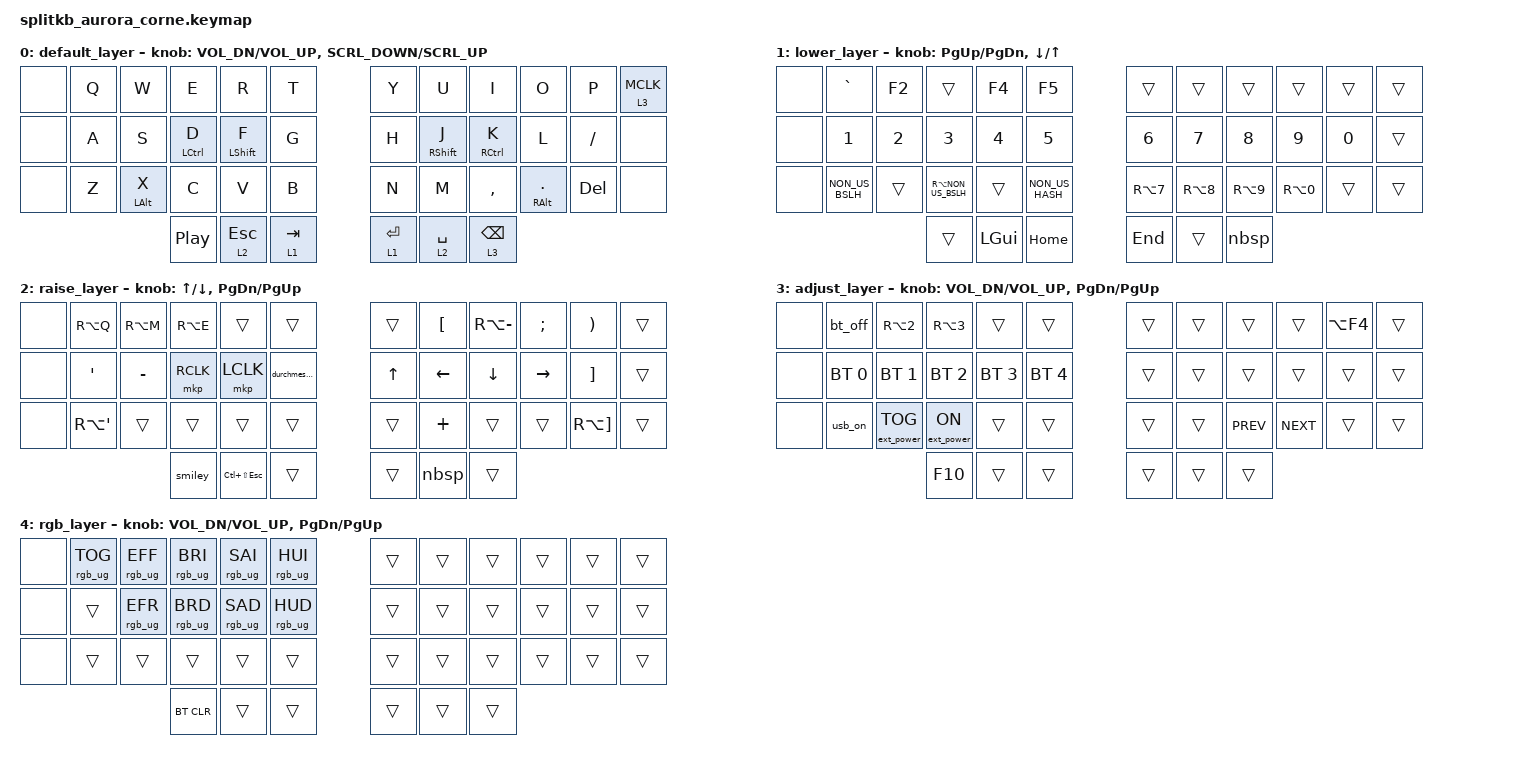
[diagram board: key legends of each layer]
#include <behaviors.dtsi>
#include <dt-bindings/zmk/keys.h>
#include <dt-bindings/zmk/bt.h>
#include <dt-bindings/zmk/ext_power.h>
#include <dt-bindings/zmk/pointing.h>
#include <dt-bindings/zmk/mouse.h>
#include <dt-bindings/zmk/outputs.h>
#include <dt-bindings/zmk/rgb.h>

&pinctrl {
    spi3_default: spi3_default {
        group1 {
            psels = <NRF_PSEL(SPIM_SCK, 0, 20)>, // Standard SCK Pin
                    <NRF_PSEL(SPIM_MOSI, 0, 17)>; // Standard MOSI Pin
        };
    };

    spi3_sleep: spi3_sleep {
        group1 {
            psels = <NRF_PSEL(SPIM_SCK, 0, 20)>,
                    <NRF_PSEL(SPIM_MOSI, 0, 17)>;
            low-power-enable;
        };
    };
};

/ {
    chosen {
        zmk,underglow = &led_strip;
    };

    // Tri-Layer Konfiguration: Wenn 1 und 2 aktiv, schalte 4 (RGB) an
    conditional_layers {
        compatible = "zmk,conditional-layers";
        tri_layer {
            if-layers = <1 2>;
            then-layer = <4>;
        };
    };

    macros {
        usb_on: usb_on { compatible = "zmk,behavior-macro"; #binding-cells = <0>; bindings = <&out OUT_USB>, <&rgb_ug RGB_ON>; };
        bt_off: bt_off { compatible = "zmk,behavior-macro"; #binding-cells = <0>; bindings = <&out OUT_BLE>, <&rgb_ug RGB_OFF>; };
        durchmesser: durchmesser { compatible = "zmk,behavior-macro"; #binding-cells = <0>; bindings = <&macro_press &kp LALT>, <&macro_tap &kp KP_N0 &kp KP_N2 &kp KP_N4 &kp KP_N8>, <&macro_release &kp LALT>; };
        smiley: smiley { compatible = "zmk,behavior-macro"; #binding-cells = <0>; wait-ms = <20>; tap-ms = <20>; bindings = <&macro_press &kp LSHFT>, <&macro_tap &kp COMMA>, <&macro_release &kp LSHFT>, <&macro_tap &kp SLASH>, <&macro_press &kp LSHFT>, <&macro_tap &kp N9>, <&macro_release &kp LSHFT>; };
        nbsp: nbsp { compatible = "zmk,behavior-macro"; #binding-cells = <0>; wait-ms = <30>; tap-ms = <30>; bindings = <&macro_press &kp LALT>, <&macro_tap &kp KP_N0 &kp KP_N1 &kp KP_N6 &kp KP_N0>, <&macro_release &kp LALT>; };
    };

    behaviors {
        hrm_safe: hrm_safe { 
           compatible = "zmk,behavior-hold-tap"; 
           #binding-cells = <2>; 
           tapping-term-ms = <280>; 
           quick-tap-ms = <175>; 
           flavor = "balanced"; 
           require-prior-idle-ms = <150>; 
           bindings = <&kp>, <&kp>; 
           hold-trigger-on-release; 
        };
        hrm_shift: hrm_shift { 
           compatible = "zmk,behavior-hold-tap"; 
           #binding-cells = <2>; 
           tapping-term-ms = <180>; 
           quick-tap-ms = <150>; 
           flavor = "balanced"; 
           bindings = <&kp>, <&kp>; hold-trigger-on-release; 
        };
        lt_hp: lt_hp { 
            compatible = "zmk,behavior-hold-tap"; 
            #binding-cells = <2>; 
            tapping-term-ms = <200>; 
            quick-tap-ms = <200>; 
            flavor = "balanced"; 
            retro-tap;
            bindings = <&mo>, <&kp>; 
        };
    };

    keymap {
        compatible = "zmk,keymap";

        default_layer {
            bindings = <
&none &kp Q  &kp W              &kp E              &kp R                &kp T                  &kp Y      &kp U                &kp I              &kp O                &kp P     &lt 3 MCLK
&none &kp A  &kp S              &hrm_safe LCTRL D  &hrm_shift LSHIFT F  &kp G                  &kp H      &hrm_shift RSHIFT J  &hrm_safe RCTRL K  &kp L                &kp SLASH &none 
&none &kp Z  &hrm_safe LALT X   &kp C              &kp V                &kp B                  &kp N      &kp M                &kp COMMA          &hrm_safe RALT DOT   &kp DEL   &none 
                                &kp C_PP           &lt 2 ESC            &lt 1 TAB              &lt 1 RET  &lt_hp 2 SPACE       &lt_hp 3 BSPC
            >;
            sensor-bindings = <&inc_dec_kp C_VOL_DN C_VOL_UP>, <&inc_dec_kp SCRL_DOWN SCRL_UP>;
        };

        lower_layer {
            bindings = <
&none &kp GRAVE        &kp F2     &trans               &kp F4        &kp F5                  &trans      &trans      &trans      &trans      &trans &trans 
&none &kp N1           &kp N2     &kp N3               &kp N4        &kp N5                  &kp N6      &kp N7      &kp N8      &kp N9      &kp N0 &trans 
&none &kp NON_US_BSLH  &trans     &kp RA(NON_US_BSLH)  &trans        &kp NON_US_HASH         &kp RA(N7)  &kp RA(N8)  &kp RA(N9)  &kp RA(N0)  &trans &trans 
                                  &trans               &kp LGUI      &kp HOME                &kp END     &trans      &nbsp
            >;
            sensor-bindings = <&inc_dec_kp PG_UP PG_DN>, <&inc_dec_kp DOWN UP>;
        };

        raise_layer {
            bindings = <
&none &kp RA(Q)    &kp RA(M)   &kp RA(E)  &trans            &trans               &trans     &kp LBKT      &kp RA(MINUS)  &kp SEMI  &kp RPAR     &trans 
&none &kp SQT      &kp MINUS   &mkp RCLK  &mkp LCLK         &durchmesser         &kp UP     &kp LEFT      &kp DOWN       &kp RIGHT &kp RBKT     &trans 
&none &kp RA(SQT)  &trans      &trans     &trans            &trans               &trans     &kp PLUS      &trans         &trans    &kp RA(RBKT) &trans 
                               &smiley    &kp LC(LS(ESC))   &trans               &trans     &nbsp         &trans
            >;
            sensor-bindings = <&inc_dec_kp UP DOWN>, <&inc_dec_kp PG_DN PG_UP>;
        };

        adjust_layer {
            bindings = <
&none &bt_off       &kp RA(N2)         &kp RA(N3)        &trans        &trans          &trans  &trans  &trans      &trans      &kp LA(F4) &trans 
&none &bt BT_SEL 0  &bt BT_SEL 1       &bt BT_SEL 2      &bt BT_SEL 3  &bt BT_SEL 4    &trans  &trans  &trans      &trans      &trans     &trans 
&none &usb_on       &ext_power EP_TOG  &ext_power EP_ON  &trans        &trans          &trans  &trans  &kp C_PREV  &kp C_NEXT  &trans     &trans 
                                       &kp F10           &trans        &trans          &trans  &trans  &trans      
            >;
            sensor-bindings = <&inc_dec_kp C_VOL_DN C_VOL_UP>, <&inc_dec_kp PG_DN PG_UP>;
        };

        rgb_layer {
            bindings = <
&none &rgb_ug RGB_TOG  &rgb_ug RGB_EFF  &rgb_ug RGB_BRI  &rgb_ug RGB_SAI  &rgb_ug RGB_HUI    &trans     &trans  &trans  &trans  &trans &trans 
&none &trans           &rgb_ug RGB_EFR  &rgb_ug RGB_BRD  &rgb_ug RGB_SAD  &rgb_ug RGB_HUD    &trans     &trans  &trans  &trans  &trans &trans 
&none &trans           &trans           &trans           &trans           &trans             &trans     &trans  &trans  &trans  &trans &trans 
                                        &bt BT_CLR       &trans           &trans             &trans     &trans  &trans  
            >;
            sensor-bindings = <&inc_dec_kp C_VOL_DN C_VOL_UP>, <&inc_dec_kp PG_DN PG_UP>; 
        };
    };
};

&spi3 {
    status = "okay";
    pinctrl-0 = <&spi3_default>;
    pinctrl-1 = <&spi3_sleep>;
    pinctrl-names = "default", "sleep";
    
    // Chip Select für das Display auf reg 0
    cs-gpios = <&gpio0 6 GPIO_ACTIVE_HIGH>; 

    nice_view: ls0xx@0 {
        compatible = "sharp,ls0xx";
        reg = <0>; 
        spi-max-frequency = <1000000>;
        width = <160>;
        height = <68>;
    };

    led_strip: ws2812@1 {  // <-- Hier die 1 statt der 0
        compatible = "worldsemi,ws2812-spi";
        reg = <1>;         // Bleibt bei 1, damit es nach dem Display (reg 0) kommt
        spi-max-frequency = <4000000>;
        chain-length = <18>; 
        spi-one-frame = <0x70>;
        spi-zero-frame = <0x40>;
        color-mapping = <2 1 3>; 
    };
};
